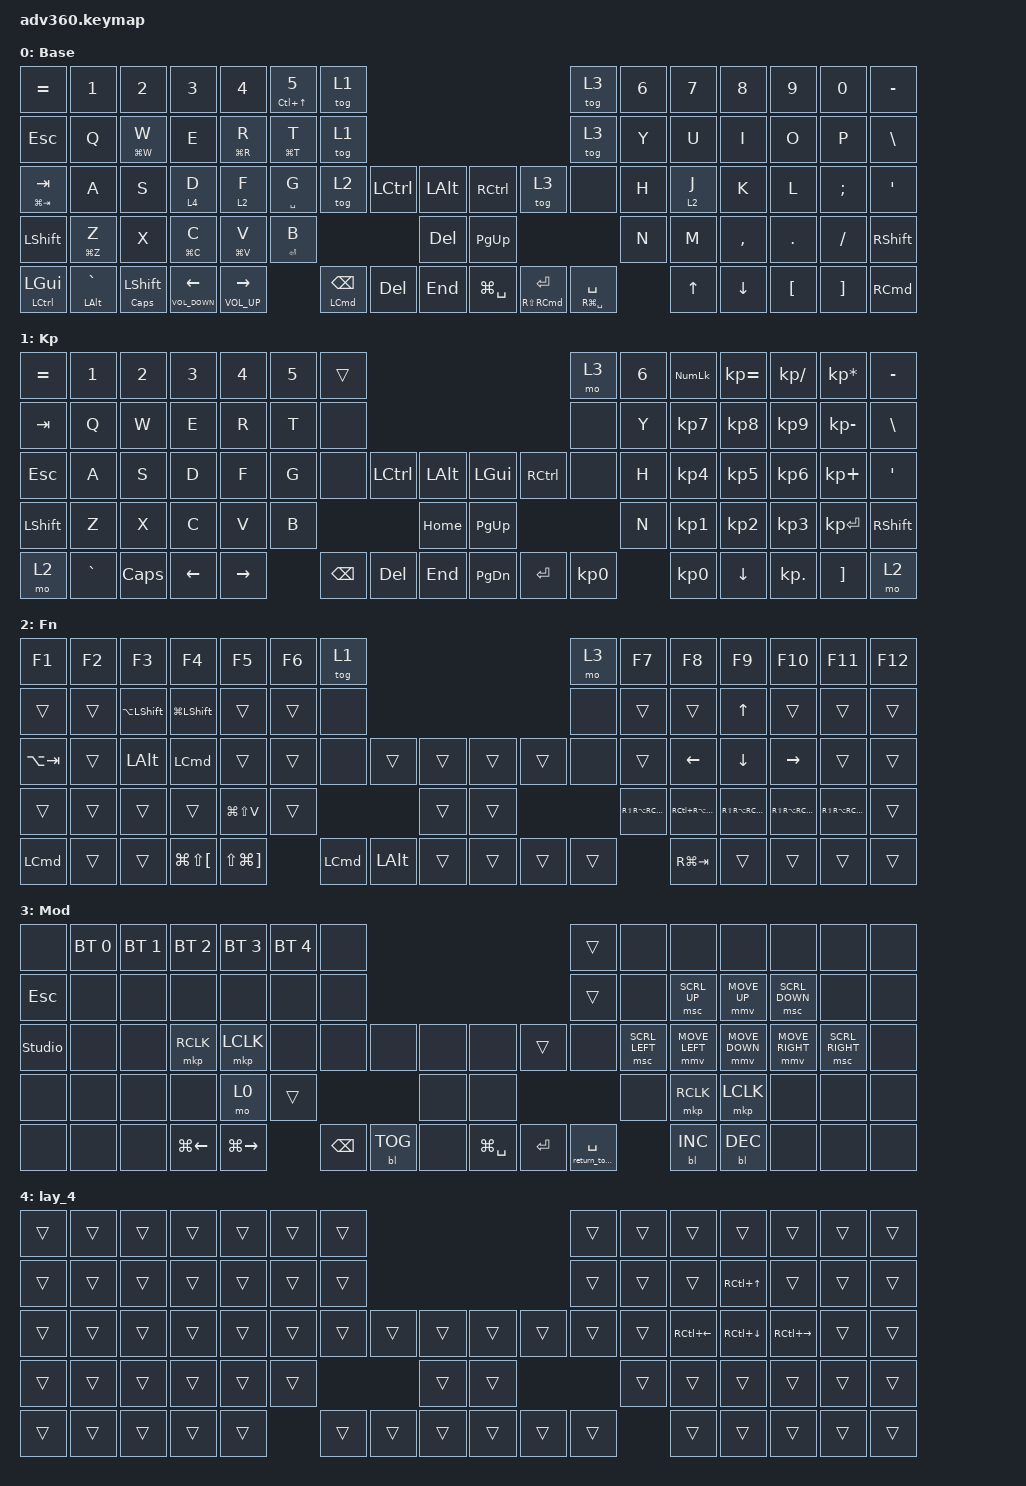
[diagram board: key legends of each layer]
#include <dt-bindings/zmk/stp.h>
#include <behaviors.dtsi>
#include <dt-bindings/zmk/backlight.h>
#include <dt-bindings/zmk/bt.h>
#include <dt-bindings/zmk/keys.h>
#include <dt-bindings/zmk/pointing.h>

// Override ZMK's default mouse speed limits

#define ZMK_POINTING_DEFAULT_MOVE_VAL 2000  // Default is 600. Higher numbers are faster.
#define ZMK_POINTING_DEFAULT_SCRL_VAL 30    // Default is 10. Higher numbers scroll faster.

// Add the scrolling speed ramp-up block right here:

/ {
    behaviors {
        #include "macros.dtsi"
        #include "version.dtsi"

        // Temporarily switch to Layer 0 while Space is held.
        // Restore Layer 3 when Space is released.

        return_to_base: return_to_base {
            compatible = "zmk,behavior-macro";
            #binding-cells = <0>;
            wait-ms = <0>;
            tap-ms = <0>;
            bindings =
                <&macro_tap>,
                <&to 0>,
                <&macro_pause_for_release>,
                <&macro_tap>,
                <&to 3>;
        };

        // Space: tap = Space, hold = temporarily switch to Layer 0.

        base_space: base_space {
            compatible = "zmk,behavior-hold-tap";
            #binding-cells = <2>;
            flavor = "hold-preferred";
            tapping-term-ms = <200>;
            bindings = <&return_to_base>, <&kp>;
        };

        hm: homerow_mods {
            compatible = "zmk,behavior-hold-tap";
            label = "HOMEROW_MODS";
            #binding-cells = <2>;
            tapping-term-ms = <200>;
            quick_tap_ms = <175>;
            flavor = "tap-preferred";
            bindings = <&kp>, <&kp>;
        };

        hm_f: hm_f {
            compatible = "zmk,behavior-hold-tap";
            label = "HM_F";
            bindings = <&kp>, <&kp>;

            #binding-cells = <2>;
            tapping-term-ms = <300>;
            quick-tap-ms = <300>;
            require-prior-idle-ms = <300>;
            flavor = "tap-preferred";
        };
    };

    macros {
    };

    keymap {
        compatible = "zmk,keymap";

        default_layer {
            display-name = "Base";
            bindings = <
&kp EQUAL                    &kp N1                &kp N2                 &kp N3                          &kp N4                   &hm_f LC(UP_ARROW) N5  &tog 1                                                                                                      &tog 3                 &kp N6  &kp N7   &kp N8     &kp N9    &kp N0    &kp MINUS
&kp ESCAPE                   &kp Q                 &hm_f LG(W) W          &kp E                           &hm_f LG(R) R            &hm_f LG(T) T          &tog 1                                                                                                      &tog 3                 &kp Y   &kp U    &kp I      &kp O     &kp P     &kp BSLH
&hm_f LG(TAB) TAB            &kp A                 &kp S                  &lt 4 D                         &lt 2 F                  &hm_f SPACE G          &tog 2                        &kp LCTRL   &kp LALT        &kp RIGHT_CONTROL  &tog 3                         &none                  &kp H   &lt 2 J  &kp K      &kp L     &kp SEMI  &kp SQT
&kp LSHFT                    &hm_f LG(Z) Z         &kp X                  &hm_f LG(C) C                   &hm_f LG(V) V            &hm_f ENTER B                                                    &kp DELETE      &kp PG_UP                                                                &kp N   &kp M    &kp COMMA  &kp DOT   &kp FSLH  &kp RSHFT
&hm_f LEFT_CONTROL LEFT_GUI  &hm_f LEFT_ALT GRAVE  &hm_f CAPS LEFT_SHIFT  &hm_f C_VOLUME_DOWN LEFT_ARROW  &hm_f C_VOLUME_UP RIGHT                         &hm_f LEFT_COMMAND BACKSPACE  &kp DELETE  &kp END         &kp LG(SPACE)      &hm_f RS(RIGHT_COMMAND) ENTER  &hm_f RG(SPACE) SPACE          &kp UP   &kp DOWN   &kp LBKT  &kp RBKT  &kp RIGHT_COMMAND
            >;
        };

        keypad {
            display-name = "Kp";
            bindings = <
&kp EQUAL  &kp N1     &kp N2    &kp N3    &kp N4     &kp N5  &trans                                                   &mo 3      &kp N6  &kp KP_NUM       &kp KP_EQUAL  &kp KP_DIVIDE  &kp KP_MULTIPLY  &kp MINUS
&kp TAB    &kp Q      &kp W     &kp E     &kp R      &kp T   &none                                                    &none      &kp Y   &kp KP_N7        &kp KP_N8     &kp KP_N9      &kp KP_MINUS     &kp BSLH
&kp ESC    &kp A      &kp S     &kp D     &kp F      &kp G   &none     &kp LCTRL  &kp LALT      &kp LGUI   &kp RCTRL  &none      &kp H   &kp KP_N4        &kp KP_N5     &kp KP_N6      &kp KP_PLUS      &kp SQT
&kp LSHFT  &kp Z      &kp X     &kp C     &kp V      &kp B                        &kp HOME      &kp PG_UP                        &kp N   &kp KP_N1        &kp KP_N2     &kp KP_N3      &kp KP_ENTER     &kp RSHFT
&mo 2      &kp GRAVE  &kp CAPS  &kp LEFT  &kp RIGHT          &kp BSPC  &kp DEL    &kp END       &kp PG_DN  &kp ENTER  &kp KP_N0          &kp KP_NUMBER_0  &kp DOWN      &kp KP_DOT     &kp RBKT         &mo 2
            >;
        };

        fn {
            display-name = "Fn";
            bindings = <
&kp F1            &kp F2  &kp F3              &kp F4                    &kp F5                     &kp F6  &tog 1                                                      &mo 3   &kp F7                 &kp F8                 &kp F9                 &kp F10                &kp F11                &kp F12
&trans            &trans  &kp LA(LEFT_SHIFT)  &kp LG(LSHIFT)            &trans                     &trans  &none                                                       &none   &trans                 &trans                 &kp UP_ARROW           &trans                 &trans                 &trans
&kp LA(TAB)       &trans  &kp LALT            &kp LEFT_COMMAND          &trans                     &trans  &none             &trans        &trans      &trans  &trans  &none   &trans                 &kp LEFT               &kp DOWN               &kp RIGHT              &trans                 &trans
&trans            &trans  &trans              &trans                    &kp LG(LS(V))              &trans                                  &trans      &trans                  &kp RS(RA(RC(RG(N))))  &kp RC(RA(RS(RG(T))))  &kp RS(RA(RC(RG(R))))  &kp RS(RA(RC(RG(W))))  &kp RS(RA(RC(RG(E))))  &trans
&kp LEFT_COMMAND  &trans  &trans              &kp LG(LS(LEFT_BRACKET))  &kp LS(LG(RIGHT_BRACKET))          &kp LEFT_COMMAND  &kp LEFT_ALT  &trans      &trans  &trans  &trans                         &kp RG(TAB)            &trans                 &trans                 &trans                 &trans
            >;
        };

        mod {
            display-name = "Mod";
            bindings = <
&none           &bt BT_SEL 0  &bt BT_SEL 1  &bt BT_SEL 2  &bt BT_SEL 3   &bt BT_SEL 4  &none                                                           &trans               &none           &none           &none           &none            &none            &none
&kp ESCAPE      &none         &none         &none         &none          &none         &none                                                           &trans               &none           &msc SCRL_UP    &mmv MOVE_UP    &msc SCRL_DOWN   &none            &none
&studio_unlock  &none         &none         &mkp RCLK     &mkp LCLK      &none         &none          &none       &none      &none          &trans     &none                &msc SCRL_LEFT  &mmv MOVE_LEFT  &mmv MOVE_DOWN  &mmv MOVE_RIGHT  &msc SCRL_RIGHT  &none
&none           &none         &none         &none         &mo 0          &trans                                   &none      &none                                          &none           &mkp RCLK       &mkp LCLK       &none            &none            &none
&none           &none         &none         &kp LG(LEFT)  &kp LG(RIGHT)                &kp BACKSPACE  &bl BL_TOG  &none      &kp LG(SPACE)  &kp ENTER  &base_space 0 SPACE                  &bl BL_INC      &bl BL_DEC      &none            &none            &none
            >;
        };

        lay_4 {
            bindings = <
&trans  &trans  &trans  &trans  &trans  &trans  &trans                                      &trans  &trans  &trans        &trans            &trans         &trans  &trans
&trans  &trans  &trans  &trans  &trans  &trans  &trans                                      &trans  &trans  &trans        &kp RC(UP_ARROW)  &trans         &trans  &trans
&trans  &trans  &trans  &trans  &trans  &trans  &trans  &trans  &trans      &trans  &trans  &trans  &trans  &kp RC(LEFT)  &kp RC(DOWN)      &kp RC(RIGHT)  &trans  &trans
&trans  &trans  &trans  &trans  &trans  &trans                  &trans      &trans                  &trans  &trans        &trans            &trans         &trans  &trans
&trans  &trans  &trans  &trans  &trans          &trans  &trans  &trans      &trans  &trans  &trans          &trans        &trans            &trans         &trans  &trans
            >;
        };

        extra1 {
            display-name = "Red";
            status = "reserved";
        };

        extra2 {
            display-name = "Purple";
            status = "reserved";
        };

        extra3 {
            display-name = "Cyan";
            status = "reserved";
        };

        extra4 {
            display-name = "Yellow";
            status = "reserved";
        };
    };
};
